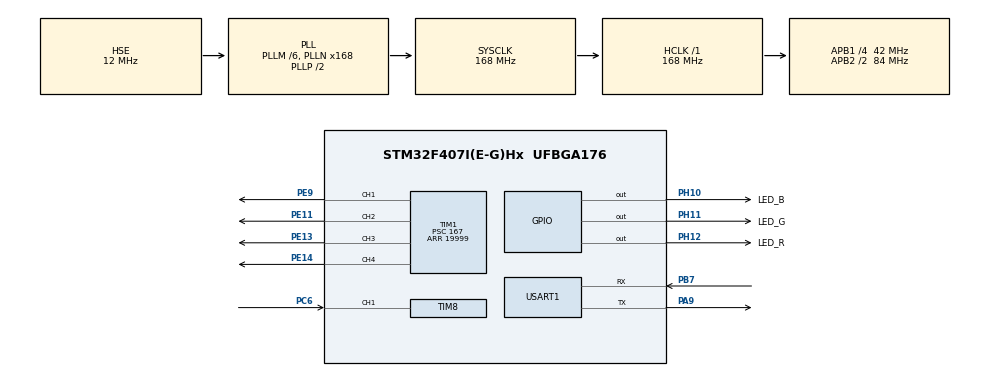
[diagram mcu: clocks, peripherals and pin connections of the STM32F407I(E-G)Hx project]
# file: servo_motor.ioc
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Mcu.Family=STM32F4
Mcu.Name=STM32F407I(E-G)Hx
Mcu.Package=UFBGA176
NVIC.PriorityGroup=NVIC_PRIORITYGROUP_4
NVIC.TIM8_BRK_TIM12_IRQn=true\:0\:0\:false\:false\:true\:true\:true
NVIC.TIM8_CC_IRQn=true\:0\:0\:false\:false\:true\:true\:true
NVIC.TIM8_TRG_COM_TIM14_IRQn=true\:0\:0\:false\:false\:true\:true\:true
NVIC.TIM8_UP_TIM13_IRQn=true\:0\:0\:false\:false\:true\:true\:true
NVIC.USART1_IRQn=true\:0\:0\:false\:false\:true\:true\:true
PA13.Mode=Serial_Wire
PA13.Signal=SYS_JTMS-SWDIO
PA14.Mode=Serial_Wire
PA14.Signal=SYS_JTCK-SWCLK
PA9.Mode=Asynchronous
PA9.Signal=USART1_TX
PB7.Mode=Asynchronous
PB7.Signal=USART1_RX
PC6.GPIO_PuPd=GPIO_PULLUP
PC6.GPIO_Speed=GPIO_SPEED_FREQ_HIGH
PC6.Signal=S_TIM8_CH1
PE11.GPIO_PuPd=GPIO_PULLUP
PE11.GPIO_Speed=GPIO_SPEED_FREQ_HIGH
PE11.Signal=S_TIM1_CH2
PE13.GPIO_PuPd=GPIO_PULLUP
PE13.GPIO_Speed=GPIO_SPEED_FREQ_HIGH
PE13.Signal=S_TIM1_CH3
PE14.GPIO_PuPd=GPIO_PULLUP
PE14.GPIO_Speed=GPIO_SPEED_FREQ_HIGH
PE14.Signal=S_TIM1_CH4
PE9.GPIO_PuPd=GPIO_PULLUP
PE9.GPIO_Speed=GPIO_SPEED_FREQ_HIGH
PE9.Signal=S_TIM1_CH1
PH0-OSC_IN.Mode=HSE-External-Oscillator
PH0-OSC_IN.Signal=RCC_OSC_IN
PH1-OSC_OUT.Mode=HSE-External-Oscillator
PH1-OSC_OUT.Signal=RCC_OSC_OUT
PH10.GPIO_Label=LED_B
PH10.Signal=GPIO_Output
PH11.GPIO_Label=LED_G
PH11.Signal=GPIO_Output
PH12.GPIO_Label=LED_R
PH12.Signal=GPIO_Output
PI7.GPIO_PuPd=GPIO_PULLUP
PI7.GPIO_Speed=GPIO_SPEED_FREQ_HIGH
PI7.Signal=S_TIM8_CH3
ProjectManager.HeapSize=0x2000
ProjectManager.StackSize=0x2000
ProjectManager.TargetToolchain=MDK-ARM V5
RCC.48MHZClocksFreq_Value=48000000
RCC.AHBFreq_Value=168000000
RCC.APB1CLKDivider=RCC_HCLK_DIV4
RCC.APB1Freq_Value=42000000
RCC.APB1TimFreq_Value=84000000
RCC.APB2CLKDivider=RCC_HCLK_DIV2
RCC.APB2Freq_Value=84000000
RCC.APB2TimFreq_Value=168000000
RCC.CortexFreq_Value=168000000
RCC.HCLKFreq_Value=168000000
RCC.HSE_VALUE=12000000
RCC.HSI_VALUE=16000000
RCC.LSE_VALUE=32768
RCC.PLLM=6
RCC.PLLN=168
RCC.PLLQ=7
RCC.PLLSourceVirtual=RCC_PLLSOURCE_HSE
RCC.RCC_RTC_Clock_SourceVirtual=RCC_RTCCLKSOURCE_HSE_DIV30
RCC.RCC_RTC_Clock_Source_FROM_HSE=RCC_RTCCLKSOURCE_HSE_DIV30
RCC.SYSCLKFreq_VALUE=168000000
RCC.SYSCLKSource=RCC_SYSCLKSOURCE_PLLCLK
RCC.VCOOutputFreq_Value=336000000
SH.S_TIM1_CH1.0=TIM1_CH1,PWM Generation1 CH1
SH.S_TIM1_CH2.0=TIM1_CH2,PWM Generation2 CH2
SH.S_TIM1_CH3.0=TIM1_CH3,PWM Generation3 CH3
SH.S_TIM1_CH4.0=TIM1_CH4,PWM Generation4 CH4
SH.S_TIM8_CH1.0=TIM8_CH1,Input_Capture1_from_TI1
SH.S_TIM8_CH1.1=TIM8_CH1
SH.S_TIM8_CH1.2=TIM8_CH1
SH.S_TIM8_CH3.0=TIM8_CH3
TIM1.Channel-PWM\ Generation1\ CH1=TIM_CHANNEL_1
TIM1.Channel-PWM\ Generation2\ CH2=TIM_CHANNEL_2
TIM1.Channel-PWM\ Generation3\ CH3=TIM_CHANNEL_3
TIM1.Channel-PWM\ Generation4\ CH4=TIM_CHANNEL_4
TIM1.Period=19999
TIM1.Prescaler=167
TIM1.Pulse-PWM\ Generation1\ CH1=2000
TIM1.Pulse-PWM\ Generation2\ CH2=2000
TIM1.Pulse-PWM\ Generation3\ CH3=2000
TIM1.Pulse-PWM\ Generation4\ CH4=2000
TIM8.Channel-Input_Capture1_from_TI1=TIM_CHANNEL_1
TIM8.Period=0xffff
TIM8.Prescaler=72
USART1.VirtualMode=VM_ASYNC
VP_TIM1_VS_ClockSourceINT.Mode=Internal
board=custom

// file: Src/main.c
/* USER CODE BEGIN Header */
/**
  ******************************************************************************
  * @file           : main.c
  * @brief          : Main program body
  ******************************************************************************
  * @attention
  *
  * <h2><center>&copy; Copyright (c) 2019 STMicroelectronics.
  * All rights reserved.</center></h2>
  *
  * This software component is licensed by ST under BSD 3-Clause license,
  * the "License"; You may not use this file except in compliance with the
  * License. You may obtain a copy of the License at:
  *                        opensource.org/licenses/BSD-3-Clause
  *
  ******************************************************************************
  */
/* USER CODE END Header */
#include "main.h"
#include "tim.h"
#include "usart.h"
#include "gpio.h"

/* USER CODE BEGIN Includes */
#include <stdio.h>
#include <stdarg.h>
#include "string.h"
/* USER CODE END Includes */

/* USER CODE BEGIN PV */
extern unsigned char t8ch1_cap_sta;
extern unsigned int t8ch1_cap_val;
extern uint32_t cap1;
double  e_now;
double	e_pre;
double	I_e;
double	delta_t;
double	delta_e;
double RPM_ref = 1000;  //motor speed
/* USER CODE END PV */

void SystemClock_Config(void);
/* USER CODE BEGIN PFP */
uint32_t IC_Value1 = 0;
uint32_t IC_Value2 = 0;
double Difference = 0;
double Frequency = 0;
uint8_t Is_First_Captured = 0;  // 0- not captured, 1- captured

/* USER CODE END PFP */

/* USER CODE BEGIN 0 */

//Thank this author!!!!!!
//https://controllerstech.com/how-to-use-input-capture-in-stm32/
//Thank you!!!!!
void HAL_TIM_IC_CaptureCallback(TIM_HandleTypeDef *htim)
{
	if (htim->Channel == HAL_TIM_ACTIVE_CHANNEL_1)  // if interrput source is channel 1
	{
		if (Is_First_Captured==0)  // is the first value captured ?
		{
			IC_Value1 = HAL_TIM_ReadCapturedValue(htim, TIM_CHANNEL_1);  // capture the first value
			Is_First_Captured =1;  // set the first value captured as true
		}

		else if (Is_First_Captured)  // if the first is captured
		{
			IC_Value2 = HAL_TIM_ReadCapturedValue(htim, TIM_CHANNEL_1);  // capture second value

			if (IC_Value2 > IC_Value1)
			{
				Difference = IC_Value2-IC_Value1;   // calculate the difference
			}

			else if (IC_Value2 < IC_Value1)
			{
				Difference = ((0xffff-IC_Value1)+IC_Value2) +1;
			}

			else
			{
				Error_Handler();
			}

			Frequency = 2333333.33333/Difference;  // calculate frequency
			Is_First_Captured = 0;  // reset the first captured
		}
	}
}
/* USER CODE END 0 */

int main(void)
{
  /* USER CODE BEGIN 1 */
	//long long temp=0;

	int temp=0;
	double RPM_now=0;
	double pwm_out;
	double motor_out= 1500;
	double kp=30;
	double ki=0.1;
	double kd=0.1;
	char str[12];
	extern float freq;
  /* USER CODE END 1 */

  /* MCU Configuration--------------------------------------------------------*/

  /* Reset of all peripherals, Initializes the Flash interface and the Systick. */
  HAL_Init();

  /* Configure the system clock */
  SystemClock_Config();

  /* Initialize all configured peripherals */
  MX_GPIO_Init();
  MX_TIM8_Init();
  MX_TIM1_Init();
  MX_USART1_UART_Init();
  /* USER CODE BEGIN 2 */
    HAL_TIM_Base_Start(&htim1);
    HAL_TIM_PWM_Start(&htim1, TIM_CHANNEL_1);
	__HAL_TIM_SetCompare(&htim1, TIM_CHANNEL_1, 1500);
	HAL_Delay(3000);
	HAL_TIM_IC_Start_IT(&htim8, TIM_CHANNEL_1);
	HAL_UART_Transmit(&huart1, "100000----\r\n", 12, 100);
	__HAL_TIM_SetCompare(&htim1, TIM_CHANNEL_1, 1600);
  /* USER CODE END 2 */

  /* Infinite loop */
  while (1)
  {

    /* USER CODE BEGIN 3 */
		///test uarst

	/*
		//motor tim1 ch1, servo tim1 ch4
		20ms ARR 20000
		wheel
		left max-----1800 ----1.8ms
		right max ---- 1100  --- 1.2ms

		motor
		1500 zero ----------------------1.5ms
		2000 max ------------------------2ms -- forward
		could be higher
		!!!!!NEVER put motor value SMALLER than 1500!!!!!;
	*/\

		sprintf(str, "%f", Frequency);
		HAL_UART_Transmit(&huart1, str, 12, 100);
		HAL_Delay(100);
//		sprintf(str, "%f", freq);
//		HAL_UART_Transmit(&huart1, str, 12, 100);

//		if(t8ch1_cap_sta&0X80)        //means finish the whole capture, ready to calculate data
//		{
//			temp=t8ch1_cap_sta&0X3F; //Note OX3F means from bit0 to 5, not the single bit on bit 5
//											// so it refers to how many overflows
//			temp*=0XFFFFFFFF;		 	    	//65536 is OXFFFF
//			temp+=(t8ch1_cap_val);      //THE time when the falling edge has occured
//			sprintf(str, "%d", temp);
//			HAL_UART_Transmit(&huart1, str, 12, 100);
//		}
			//printf("HIGH:%lld us\r\n",temp);//print to chuangkou via uart
//			//pid part RPM = 60/T
//			RPM_now = 60/(temp*1e-6);  //possible bugs here as temp is long
//			e_pre = e_now; // a possible bug here
//
//			e_now = RPM_ref - RPM_now;  //positive means low speed, so kp is positive
//			I_e += e_now;   //ki positive
//			delta_t = temp*1e-6;   //possible bugs here.
//			delta_e = (e_now - e_pre)/delta_t;   /// watch sign   ---- possible bugs here
//			//if the gradient is increasing

//			pwm_out = kp*e_now + ki*I_e + kd*delta_e;
//			if(pwm_out>1.0)
//			{
//				pwm_out = 1.0;
//			}
//			if(pwm_out<-1.0) pwm_out=-1.0;
//
//			pwm_out =1500+ pwm_out*500; //motor moves forward range: 1500 to 2000  (1.5ms to 2ms)
//			if(pwm_out<1500) pwm_out=1500;
//			if(pwm_out>2000) pwm_out=2000;
//			__HAL_TIM_SetCompare(&htim1, TIM_CHANNEL_1, motor_out);
//
//			t8ch1_cap_sta=0;          //start the next cpature

//		}

//  e_now = 0;
//	e_pre=0;
//	I_e =0;
//	delta_t=0;
//	delta_e=0;
//	while(1)
//    {
//        //delay_ms(10);
//		//TIM_SetTIM3Compare2(TIM_GetTIM3Capture2()+1);
//		//if(TIM_GetTIM3Capture2()==300)TIM_SetTIM3Compare2(0);  ---- just clear
//		//TIm3 is irrelevant here!!!! ignore
//
//        if(TIM5CH1_CAPTURE_STA&0X80)        //means finish the whole capture, ready to calculate data
//		{
//			temp=TIM5CH1_CAPTURE_STA&0X3F; //Note OX3F means from bit0 to 5, not the single bit on bit 5
//											// so it refers to how many overflows
//			temp*=65535;		 	    	//65536 is OXFFFF
//			temp+=(TIM5CH1_CAPTURE_VAL);      //THE time when the falling edge has occured
//
//			printf("HIGH:%lld us\r\n",temp);//print to chuangkou via uart
//
//
//
//			//pid part RPM = 60/T
//			RPM_now = 60/(temp*1e-6);  //possible bugs here as temp is long
//			e_pre = e_now; // a possible bug here
//
//			e_now = RPM_ref - RPM_now;  //positive means low speed, so kp is positive
//			I_e += e_now;   //ki positive
//			delta_t = temp*1e-6;
//			delta_e = (e_now - e_pre)/delta_t;   /// watch sign   ---- possible bugs here
//			//if the gradient is increasing

//			pwm_out = kp*e_now + ki*I_e + kd*delta_e;
//			if(pwm_out>1.0)
//			{
//				pwm_out = 1.0;
//			}
//			if(pwm_out<0.0) pwm_out=0.0;
//			TIM_SetTIM3Compare2(pwm_out);  //generate the pwm wave
//
//			TIM5CH1_CAPTURE_STA=0;          //start the next cpature
//		}
    }

  /* USER CODE END 3 */
}

void SystemClock_Config(void)
{
  RCC_OscInitTypeDef RCC_OscInitStruct = {0};
  RCC_ClkInitTypeDef RCC_ClkInitStruct = {0};

  /** Configure the main internal regulator output voltage
  */
  __HAL_RCC_PWR_CLK_ENABLE();
  __HAL_PWR_VOLTAGESCALING_CONFIG(PWR_REGULATOR_VOLTAGE_SCALE1);
  /** Initializes the RCC Oscillators according to the specified parameters
  * in the RCC_OscInitTypeDef structure.
  */
  RCC_OscInitStruct.OscillatorType = RCC_OSCILLATORTYPE_HSE;
  RCC_OscInitStruct.HSEState = RCC_HSE_ON;
  RCC_OscInitStruct.PLL.PLLState = RCC_PLL_ON;
  RCC_OscInitStruct.PLL.PLLSource = RCC_PLLSOURCE_HSE;
  RCC_OscInitStruct.PLL.PLLM = 6;
  RCC_OscInitStruct.PLL.PLLN = 168;
  RCC_OscInitStruct.PLL.PLLP = RCC_PLLP_DIV2;
  RCC_OscInitStruct.PLL.PLLQ = 7;
  if (HAL_RCC_OscConfig(&RCC_OscInitStruct) != HAL_OK)
  {
    Error_Handler();
  }
  /** Initializes the CPU, AHB and APB buses clocks
  */
  RCC_ClkInitStruct.ClockType = RCC_CLOCKTYPE_HCLK|RCC_CLOCKTYPE_SYSCLK
                              |RCC_CLOCKTYPE_PCLK1|RCC_CLOCKTYPE_PCLK2;
  RCC_ClkInitStruct.SYSCLKSource = RCC_SYSCLKSOURCE_PLLCLK;
  RCC_ClkInitStruct.AHBCLKDivider = RCC_SYSCLK_DIV1;
  RCC_ClkInitStruct.APB1CLKDivider = RCC_HCLK_DIV4;
  RCC_ClkInitStruct.APB2CLKDivider = RCC_HCLK_DIV2;

  if (HAL_RCC_ClockConfig(&RCC_ClkInitStruct, FLASH_LATENCY_5) != HAL_OK)
  {
    Error_Handler();
  }
}

void Error_Handler(void)
{
}

/************************ (C) COPYRIGHT STMicroelectronics *****END OF FILE****/
